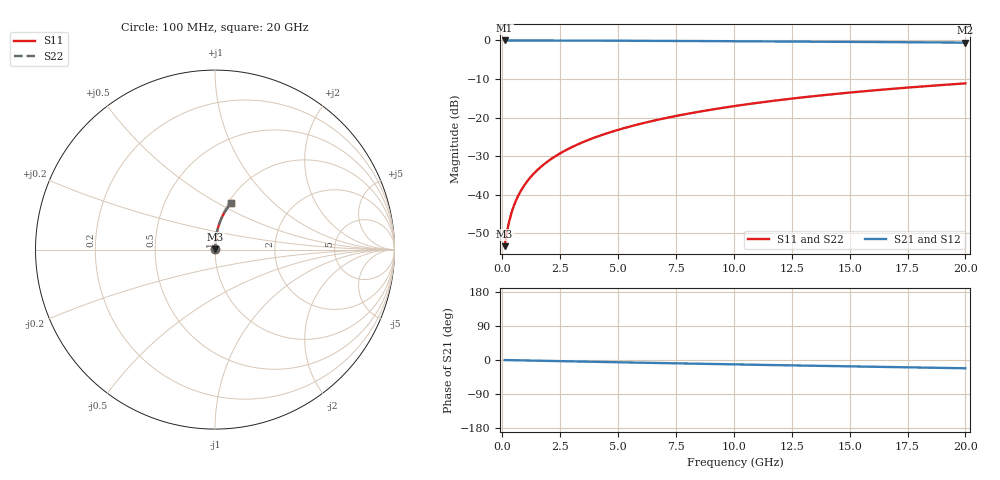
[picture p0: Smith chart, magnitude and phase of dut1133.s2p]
! Touchstone file exported from HFSS 2024.1.0
!  File:  C:/UserFiles/LocalFiles/RDL_TSV_Batchsim/temp_RDL_bottom_1133_1780055355.aedt
!  Generated:  07:52:01 PM May 29, 2026
!  Design:  RDL_bottom
!  Project:  temp_RDL_bottom_1133_1780055355
!  Setup:  Setup1
!  Solution:  Sweep
! Variables:
!  dtsv = 10.80580581um
!  hbump = 3um
!  htsv = 94.83um
!  ldown = 225.43um
!  lrdl = 100um
!  p = 40
!  p1 = 59.77um
!  rhole = 1um
!  t = 450um
!  tdown = 3.45um
!  trdl = 3.915915916um
!  wdown = 16.05um
!  wrdl = 20um
# GHz S MA R 50.000000
! Terminal data exported
! Port[1] = RDL1_T1
! Port[2] = RDL1_T2
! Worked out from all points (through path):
!   200 points, 100 MHz to 20 GHz, reference 50 ohm
!   highest |S21| = -0.01 dB at 100 MHz (marker M1); lowest = -0.6 dB at 20 GHz (marker M2)
!   group delay of S21, straight-line fit = 3.02 ps
!   lowest |S11| = -53.3 dB at 100 MHz (marker M3), VSWR 1.00, Z = 50.2 + j0.143 ohm
!   |S11| at or under -10 dB: start of sweep to end of sweep
!   |S22| runs from -53.3 to -11.1 dB; largest |S21 - S12| = 2.6e-15
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0.1  0.002163 41.3  0.9984 -0.1  0.9984 -0.1  0.002163 41.3
! Gamma 0 0 0 0
! Port Impedance 50 0 50 0
0.2  0.003292 59.7  0.9983 -0.3  0.9983 -0.3  0.003292 59.7
0.3  0.00457 68.1  0.9983 -0.4  0.9983 -0.4  0.00457 68.1
0.4  0.005888 72.6  0.9982 -0.5  0.9982 -0.5  0.005888 72.6
0.5  0.007219 75.5  0.9982 -0.6  0.9982 -0.6  0.007219 75.5
0.6  0.008557 77.5  0.9981 -0.7  0.9981 -0.7  0.008557 77.5
0.8  0.01124 80.1  0.998 -1.0  0.998 -1.0  0.01124 80.1
1.1  0.0153 82.3  0.9977 -1.3  0.9977 -1.3  0.0153 82.3
1.5  0.02075 83.9  0.9974 -1.8  0.9974 -1.8  0.02075 83.9
1.8  0.02485 84.5  0.9971 -2.2  0.9971 -2.2  0.02485 84.5
2.1  0.02897 84.9  0.9967 -2.6  0.9967 -2.6  0.02897 84.9
2.7  0.03725 85.4  0.9959 -3.3  0.9959 -3.3  0.03725 85.4
3.5  0.04835 85.4  0.9945 -4.2  0.9945 -4.2  0.04835 85.4
4.2  0.05814 85.3  0.993 -5.1  0.993 -5.1  0.05814 85.3
5  0.06941 85.0  0.9911 -6.0  0.9911 -6.0  0.06941 85.0
5.9  0.08216 84.4  0.9887 -7.0  0.9887 -7.0  0.08216 84.4
6.8  0.09498 83.8  0.9861 -8.0  0.9861 -8.0  0.09498 83.8
8.3  0.1164 82.5  0.9815 -9.7  0.9815 -9.7  0.1164 82.5
10.1  0.1422 80.9  0.9754 -11.7  0.9754 -11.7  0.1422 80.9
13.4  0.1889 77.6  0.9634 -15.2  0.9634 -15.2  0.1889 77.6
16.7  0.2341 74.1  0.9503 -18.5  0.9503 -18.5  0.2342 74.1
20  0.2775 70.7  0.9361 -21.8  0.9361 -21.8  0.2775 70.7
